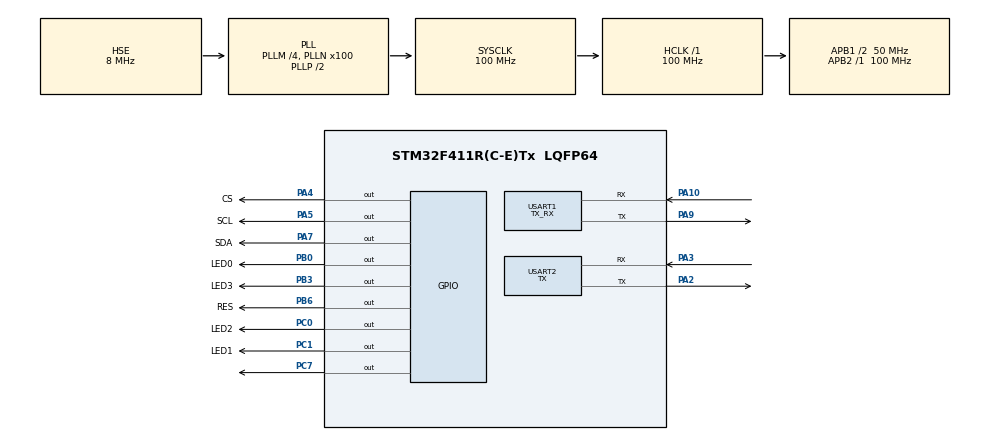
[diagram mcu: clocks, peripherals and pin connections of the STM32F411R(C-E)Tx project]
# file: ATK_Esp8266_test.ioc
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Dma.Request0=USART1_RX
Dma.USART1_RX.0.Direction=DMA_PERIPH_TO_MEMORY
Dma.USART1_RX.0.FIFOMode=DMA_FIFOMODE_DISABLE
Dma.USART1_RX.0.Instance=DMA2_Stream2
Dma.USART1_RX.0.MemDataAlignment=DMA_MDATAALIGN_BYTE
Dma.USART1_RX.0.MemInc=DMA_MINC_ENABLE
Dma.USART1_RX.0.Mode=DMA_NORMAL
Dma.USART1_RX.0.PeriphDataAlignment=DMA_PDATAALIGN_BYTE
Dma.USART1_RX.0.PeriphInc=DMA_PINC_DISABLE
Dma.USART1_RX.0.Priority=DMA_PRIORITY_LOW
Mcu.Family=STM32F4
Mcu.Name=STM32F411R(C-E)Tx
Mcu.Package=LQFP64
NVIC.DMA2_Stream2_IRQn=true\:0\:0\:false\:false\:true\:false\:true\:true
NVIC.PriorityGroup=NVIC_PRIORITYGROUP_4
NVIC.USART1_IRQn=true\:0\:0\:false\:false\:true\:true\:true\:true
PA10.Mode=Asynchronous
PA10.Signal=USART1_RX
PA2.Mode=Asynchronous
PA2.Signal=USART2_TX
PA3.Mode=Asynchronous
PA3.Signal=USART2_RX
PA4.GPIO_Label=CS
PA4.Signal=GPIO_Output
PA5.GPIO_Label=SCL
PA5.GPIO_Speed=GPIO_SPEED_FREQ_HIGH
PA5.Signal=GPIO_Output
PA7.GPIO_Label=SDA
PA7.GPIO_Speed=GPIO_SPEED_FREQ_HIGH
PA7.Signal=GPIO_Output
PA9.Mode=Asynchronous
PA9.Signal=USART1_TX
PB0.GPIO_Label=LED0
PB0.Signal=GPIO_Output
PB3.GPIO_Label=LED3
PB3.Signal=GPIO_Output
PB6.GPIO_Label=RES
PB6.Signal=GPIO_Output
PC0.GPIO_Label=LED2
PC0.Signal=GPIO_Output
PC1.GPIO_Label=LED1
PC1.Signal=GPIO_Output
PC7.Signal=GPIO_Output
PH0\ -\ OSC_IN.Mode=HSE-External-Clock-Source
PH0\ -\ OSC_IN.Signal=RCC_OSC_IN
PH1\ -\ OSC_OUT.Mode=HSE-External-Clock-Source
PH1\ -\ OSC_OUT.Signal=RCC_OSC_OUT
ProjectManager.HeapSize=0x200
ProjectManager.StackSize=0x400
ProjectManager.TargetToolchain=MDK-ARM V5.32
RCC.48MHZClocksFreq_Value=50000000
RCC.AHBFreq_Value=100000000
RCC.APB1CLKDivider=RCC_HCLK_DIV2
RCC.APB1Freq_Value=50000000
RCC.APB1TimFreq_Value=100000000
RCC.APB2Freq_Value=100000000
RCC.APB2TimFreq_Value=100000000
RCC.CortexFreq_Value=100000000
RCC.HCLKFreq_Value=100000000
RCC.HSE_VALUE=8000000
RCC.HSI_VALUE=16000000
RCC.LSE_VALUE=32768
RCC.PLLM=4
RCC.PLLN=100
RCC.PLLSourceVirtual=RCC_PLLSOURCE_HSE
RCC.SYSCLKFreq_VALUE=100000000
RCC.SYSCLKSource=RCC_SYSCLKSOURCE_PLLCLK
RCC.VCOOutputFreq_Value=200000000
USART1.Mode=MODE_TX_RX
USART1.VirtualMode=VM_ASYNC
USART2.Mode=MODE_TX
USART2.VirtualMode=VM_ASYNC
board=custom

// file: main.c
/* USER CODE BEGIN Header */
/**
 ******************************************************************************
 * @file           : main.c
 * @brief          : Main program body
 ******************************************************************************
 * @attention
 *
 * Copyright (c) 2024 STMicroelectronics.
 * All rights reserved.
 *
 * This software is licensed under terms that can be found in the LICENSE file
 * in the root directory of this software component.
 * If no LICENSE file comes with this software, it is provided AS-IS.
 *
 ******************************************************************************
 */
/* USER CODE END Header */
#include "main.h"
#include "dma.h"
#include "usart.h"
#include "gpio.h"

/* USER CODE BEGIN Includes */

#include "OLED.h"
#include "esp8266.h"
#include <stdio.h>
#include <string.h>

/* USER CODE END Includes */

/* USER CODE BEGIN PTD */

#define LED_State(x1, x2, x3, x4) ((HAL_GPIO_WritePin(GPIOB, GPIO_PIN_0, (GPIO_PinState)x1)), (HAL_GPIO_WritePin(GPIOC, GPIO_PIN_1, (GPIO_PinState)x2)), (HAL_GPIO_WritePin(GPIOC, GPIO_PIN_0, (GPIO_PinState)x3)), (HAL_GPIO_WritePin(GPIOB, GPIO_PIN_3, (GPIO_PinState)x4)));
/* USER CODE END PTD */

/* USER CODE BEGIN PD */

#define RXBUFFERSIZE 1024

extern uint8_t Uart1_RxBuffer[RXBUFFERSIZE];
extern uint8_t Uart1_RXFlag;
extern uint8_t Uart1_RXLen;

extern uint8_t User_Info_Flag;

/* USER CODE END PD */

void SystemClock_Config(void);

int main(void)
{

  /* MCU Configuration--------------------------------------------------------*/

  /* Reset of all peripherals, Initializes the Flash interface and the Systick. */
  HAL_Init();

  /* Configure the system clock */
  SystemClock_Config();

  /* Initialize all configured peripherals */
  MX_GPIO_Init();
  MX_DMA_Init();
  MX_USART1_UART_Init();
  MX_USART2_UART_Init();
  /* USER CODE BEGIN 2 */

  LED_State(1, 1, 1, 1);
  OLED_Init();
	OLED_Windows();
  LED_State(0, 0, 0, 0);
	printf("初始化中...\r\n");
	Esp_Config();
	ESP_Init();
  /* USER CODE END 2 */

  /* Infinite loop */
  /* USER CODE BEGIN WHILE */

	uint8_t *p;
  while (1)
	{
		if(User_Info_Flag)
		{

			p = (uint8_t *)strstr((const char *)Uart1_RxBuffer, ":");
			switch(*(p+1))
			{
				case '0': LED_State(0,0,0,0);printf("\nfrSTM32Leds Off!!!\r\n");break;
				case '1': LED_State(1,1,1,1)printf("\nfrSTM32Leds On!!!\r\n");;break;
				case '3': Esp_GetWeather();break;
				case '4': Esp_GetTime();break;
			}
			User_Info_Flag=0;
			memset(Uart1_RxBuffer, 0, Uart1_RXLen);
		}
	}
    /* USER CODE END WHILE */

}

void SystemClock_Config(void)
{
  RCC_OscInitTypeDef RCC_OscInitStruct = {0};
  RCC_ClkInitTypeDef RCC_ClkInitStruct = {0};

  /** Configure the main internal regulator output voltage
  */
  __HAL_RCC_PWR_CLK_ENABLE();
  __HAL_PWR_VOLTAGESCALING_CONFIG(PWR_REGULATOR_VOLTAGE_SCALE1);

  /** Initializes the RCC Oscillators according to the specified parameters
  * in the RCC_OscInitTypeDef structure.
  */
  RCC_OscInitStruct.OscillatorType = RCC_OSCILLATORTYPE_HSE;
  RCC_OscInitStruct.HSEState = RCC_HSE_BYPASS;
  RCC_OscInitStruct.PLL.PLLState = RCC_PLL_ON;
  RCC_OscInitStruct.PLL.PLLSource = RCC_PLLSOURCE_HSE;
  RCC_OscInitStruct.PLL.PLLM = 4;
  RCC_OscInitStruct.PLL.PLLN = 100;
  RCC_OscInitStruct.PLL.PLLP = RCC_PLLP_DIV2;
  RCC_OscInitStruct.PLL.PLLQ = 4;
  if (HAL_RCC_OscConfig(&RCC_OscInitStruct) != HAL_OK)
  {
    Error_Handler();
  }

  /** Initializes the CPU, AHB and APB buses clocks
  */
  RCC_ClkInitStruct.ClockType = RCC_CLOCKTYPE_HCLK|RCC_CLOCKTYPE_SYSCLK
                              |RCC_CLOCKTYPE_PCLK1|RCC_CLOCKTYPE_PCLK2;
  RCC_ClkInitStruct.SYSCLKSource = RCC_SYSCLKSOURCE_PLLCLK;
  RCC_ClkInitStruct.AHBCLKDivider = RCC_SYSCLK_DIV1;
  RCC_ClkInitStruct.APB1CLKDivider = RCC_HCLK_DIV2;
  RCC_ClkInitStruct.APB2CLKDivider = RCC_HCLK_DIV1;

  if (HAL_RCC_ClockConfig(&RCC_ClkInitStruct, FLASH_LATENCY_3) != HAL_OK)
  {
    Error_Handler();
  }
}

void Error_Handler(void)
{
  __disable_irq();
  while (1)
  {
  }
}
